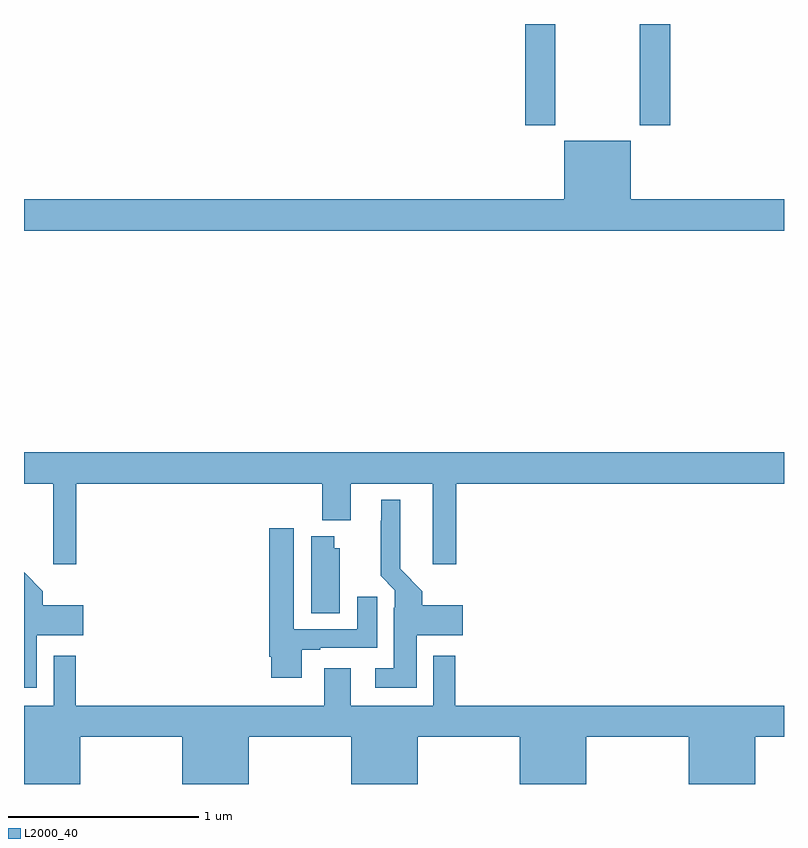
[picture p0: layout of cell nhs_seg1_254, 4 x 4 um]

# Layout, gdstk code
import gdstk
lib = gdstk.Library(unit=1e-6, precision=1e-09)
def R(c, l, rs):  # rectangles x0, y0, x1, y1
    for r in rs: c.add(gdstk.rectangle(r[:2], r[2:], *l))
def P(c, l, *ps):  # polygons
    for p in ps: c.add(gdstk.Polygon(p, *l))
L2000_40 = (2000, 40)

nhs_seg1_254 = lib.new_cell('nhs_seg1_254')
R(nhs_seg1_254, L2000_40, [(127.637,505.665,127.797,506.199), (128.242,505.665,128.402,506.199)])
P(nhs_seg1_254, L2000_40, [(129,505.276),(128.194,505.276),(128.194,505.585),(127.844,505.585),(127.844,505.276),(125,505.276),(125,505.112),(129,505.112)],
  [(125.276,503.78),(126.569,503.78),(126.569,503.588),(126.721,503.588),(126.721,503.78),(127.151,503.78),(127.151,503.355),(127.274,503.355),(127.274,503.78),(129,503.78),(129,503.944),(125,503.944),(125,503.78),(125.153,503.78),(125.153,503.355),(125.276,503.355)],
  [(127.066,502.982),(127.309,502.982),(127.309,503.14),(127.097,503.14),(127.097,503.214),(126.979,503.332),(126.979,503.695),(126.881,503.695),(126.881,503.585),(126.877,503.585),(126.877,503.294),(126.951,503.22),(126.951,503.126),(126.947,503.126),(126.947,502.807),(126.849,502.807),(126.849,502.706),(127.066,502.706)],
  [(126.463,502.905),(126.559,502.905),(126.559,502.917),(126.859,502.917),(126.859,503.185),(126.755,503.185),(126.755,503.013),(126.421,503.013),(126.421,503.545),(126.29,503.545),(126.29,502.87),(126.302,502.87),(126.302,502.758),(126.463,502.758)],
  [(126.661,503.439),(126.634,503.439),(126.634,503.503),(126.512,503.503),(126.512,503.098),(126.661,503.098)],
  [(125.068,502.982),(125.311,502.982),(125.311,503.14),(125.099,503.14),(125.099,503.214),(125,503.313),(125,502.706),(125.068,502.706)],
  [(125.296,502.448),(125.834,502.448),(125.834,502.199),(126.184,502.199),(126.184,502.448),(126.722,502.448),(126.722,502.199),(127.072,502.199),(127.072,502.448),(127.61,502.448),(127.61,502.199),(127.96,502.199),(127.96,502.448),(128.498,502.448),(128.498,502.199),(128.848,502.199),(128.848,502.448),(129,502.448),(129,502.612),(127.271,502.612),(127.271,502.873),(127.155,502.873),(127.155,502.612),(126.721,502.612),(126.721,502.807),(126.581,502.807),(126.581,502.612),(125.273,502.612),(125.273,502.873),(125.157,502.873),(125.157,502.612),(125,502.612),(125,502.199),(125.296,502.199)])

lib.write_gds('nhs_seg1_254.gds')
